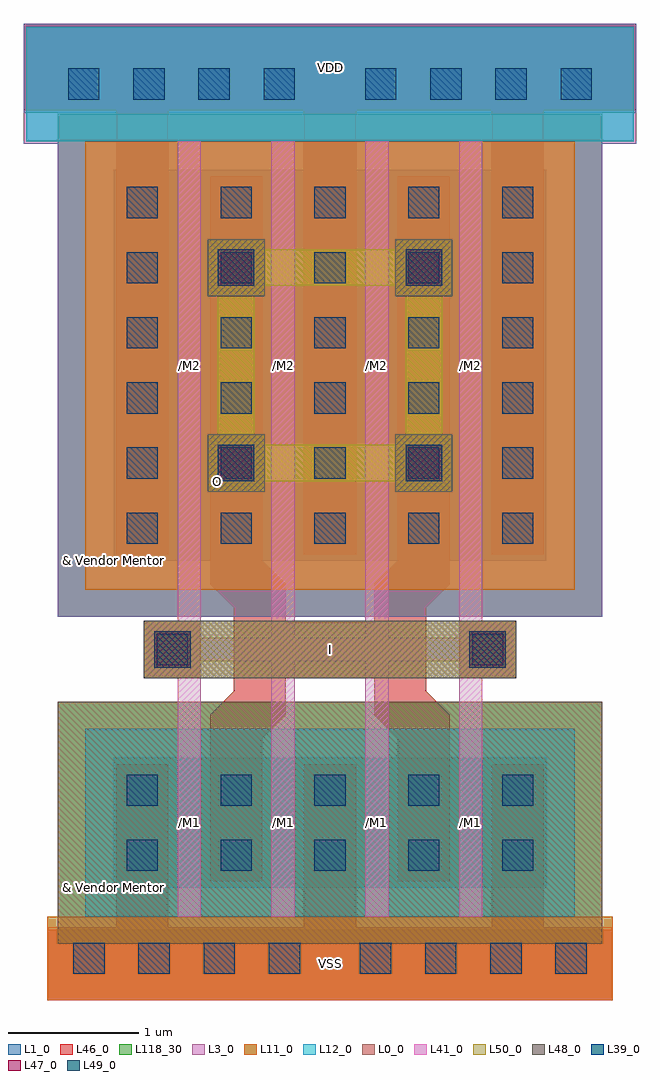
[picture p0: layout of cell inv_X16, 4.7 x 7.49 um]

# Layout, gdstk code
import gdstk
lib = gdstk.Library(unit=1e-6, precision=1e-09)
def R(c, l, rs):  # rectangles x0, y0, x1, y1
    for r in rs: c.add(gdstk.rectangle(r[:2], r[2:], *l))
def A(c, l, x, y, w, h, nx, ny, dx, dy):  # array of equal rectangles
    R(c, l, [(x+i*dx, y+j*dy, x+i*dx+w, y+j*dy+h) for i in range(nx) for j in range(ny)])
def P(c, l, *ps):  # polygons
    for p in ps: c.add(gdstk.Polygon(p, *l))
L0_0 = (0, 0)
L1_0 = (1, 0)
L3_0 = (3, 0)
L11_0 = (11, 0)
L12_0 = (12, 0)
L39_0 = (39, 0)
L41_0 = (41, 0)
L46_0 = (46, 0)
L47_0 = (47, 0)
L48_0 = (48, 0)
L49_0 = (49, 0)
L50_0 = (50, 0)
L118_30 = (118, 30)

mpoly = lib.new_cell('MPOLY')
R(mpoly, L39_0, [(-0.12,-0.12,0.12,0.12)])
R(mpoly, L41_0, [(-0.22,-0.22,0.22,0.22)])
R(mpoly, L46_0, [(-0.2,-0.2,0.2,0.2)])

m1m2 = lib.new_cell('M1M2')
R(m1m2, L46_0, [(-0.22,-0.22,0.22,0.22)])
R(m1m2, L47_0, [(-0.14,-0.14,0.14,0.14)])
R(m1m2, L48_0, [(-0.22,-0.22,0.22,0.22)])

m2m3 = lib.new_cell('M2M3')
R(m2m3, L48_0, [(-0.22,-0.22,0.22,0.22)])
R(m2m3, L49_0, [(-0.14,-0.14,0.14,0.14)])
R(m2m3, L50_0, [(-0.22,-0.22,0.22,0.22)])

inv_x16 = lib.new_cell('inv_X16')
R(inv_x16, L0_0, [(-3.28,-3.54,0.9,-1.68)])
R(inv_x16, L1_0, [(-3.36,-3.97,0.98,-3.43), (-3.26,-3.87,0.88,-3.43), (-2.85,-3.11,0.47,-2.11), (-2.85,-3.11,-2.36,-2.11), (-0.02,-3.11,0.47,-2.11), (-2.85,-0.6,0.47,2.4), (-2.85,-0.6,-2.36,2.4), (-0.02,-0.6,0.47,2.4), (-3.54,2.84,1.16,3.52), (-3.3,2.84,0.92,3.28)])
R(inv_x16, L3_0, [(-3.28,-1.03,0.9,2.83), (-3.54,2.6,1.16,3.52)])
R(inv_x16, L11_0, [(-3.36,-3.97,0.98,-3.33), (-3.07,-0.82,0.69,2.62)])
R(inv_x16, L12_0, [(-3.07,-3.33,0.69,-1.89), (-3.52,2.62,1.14,3.5)])
A(inv_x16, L39_0, -3.16, -3.77, 0.24, 0.24, 4, 1, 0.5, 0)
A(inv_x16, L39_0, -0.96, -3.77, 0.24, 0.24, 4, 1, 0.5, 0)
A(inv_x16, L39_0, -2.75, -2.98, 0.24, 0.24, 5, 2, 0.72, 0.5)
A(inv_x16, L39_0, -2.75, -0.47, 0.24, 0.24, 5, 6, 0.72, 0.5)
A(inv_x16, L39_0, -3.2, 2.94, 0.24, 0.24, 4, 1, 0.5, 0)
A(inv_x16, L39_0, -0.92, 2.94, 0.24, 0.24, 4, 1, 0.5, 0)
A(inv_x16, L41_0, -2.36, -3.33, 0.18, 0.22, 4, 2, 0.72, 1.22)
A(inv_x16, L41_0, -2.36, -3.11, 0.18, 1, 4, 1, 0.72, 0)
A(inv_x16, L41_0, -2.36, -2.07, 0.18, 1.43, 4, 1, 0.72, 0)
A(inv_x16, L41_0, -2.36, -0.82, 0.18, 0.22, 4, 2, 0.72, 3.22)
A(inv_x16, L41_0, -2.36, -0.6, 0.18, 3, 4, 1, 0.72, 0)
R(inv_x16, L41_0, [(-2.49,-1.37,-2.19,-1.19), (-2.36,-1.37,-0.02,-1.19), (-0.07,-1.37,0.23,-1.19)])
A(inv_x16, L46_0, -2.83, -3.81, 0.4, 1.15, 3, 1, 1.44, 0)
A(inv_x16, L46_0, -2.83, -3.06, 0.4, 0.9, 5, 1, 0.72, 0)
A(inv_x16, L46_0, -2.83, -0.55, 0.4, 2.9, 5, 1, 0.72, 0)
A(inv_x16, L46_0, -2.83, 1.95, 0.4, 1.31, 3, 1, 1.44, 0)
R(inv_x16, L46_0, [(-3.36,-3.97,0.98,-3.41), (-3.28,-3.89,0.9,-3.41), (-1.93,-1.5,-0.45,-1.07), (-3.54,2.86,1.16,3.52), (-3.28,2.86,0.9,3.26)])
P(inv_x16, L46_0, [(-0.85,-1.78),(-0.67,-1.96),(-0.67,-2.56),(-0.27,-2.56),(-0.27,-1.78),(-0.45,-1.6),(-0.45,-0.96),(-0.27,-0.78),(-0.27,-0.15),(-0.67,-0.15),(-0.67,-0.6),(-0.85,-0.78)],
  [(-2.11,-2.56),(-1.71,-2.56),(-1.71,-1.96),(-1.53,-1.78),(-1.53,-0.78),(-1.71,-0.6),(-1.71,-0.15),(-2.11,-0.15),(-2.11,-0.78),(-1.93,-0.96),(-1.93,-1.6),(-2.11,-1.78)])
R(inv_x16, L48_0, [(-2.62,-1.5,0.24,-1.06)])
R(inv_x16, L50_0, [(-2.62,-1.5,0.24,-1.06)])
P(inv_x16, L50_0, [(-2.05,0.01),(-0.33,0.01),(-0.33,1.79),(-0.61,1.79),(-0.61,0.29),(-1.77,0.29),(-1.77,1.51),(-0.61,1.51),(-0.61,1.79),(-2.05,1.79)])
R(inv_x16, L118_30, [(-3.28,-3.54,0.9,-1.68), (-3.28,-1.03,0.9,2.83)])
inv_x16.add(gdstk.Reference(mpoly, (0.02,-1.28)))
inv_x16.add(gdstk.Reference(m1m2, (-1.91,0.15)))
inv_x16.add(gdstk.Reference(m1m2, (-1.91,1.65)))
inv_x16.add(gdstk.Reference(m1m2, (-0.47,1.65)))
inv_x16.add(gdstk.Reference(m2m3, (-2.4,-1.28)))
inv_x16.add(gdstk.Reference(mpoly, (-2.4,-1.28)))
inv_x16.add(gdstk.Reference(m1m2, (-2.4,-1.28)))
inv_x16.add(gdstk.Reference(m1m2, (-0.47,0.15)))
inv_x16.add(gdstk.Reference(m2m3, (-0.47,1.65)))
inv_x16.add(gdstk.Reference(m2m3, (-1.91,0.15)))
inv_x16.add(gdstk.Reference(m2m3, (-0.47,0.15)))
inv_x16.add(gdstk.Reference(m2m3, (-1.91,1.65)))
inv_x16.add(gdstk.Reference(m1m2, (0.02,-1.28)))
inv_x16.add(gdstk.Reference(m2m3, (0.02,-1.28)))
inv_x16.add(gdstk.Label('/M1', (-2.27,-2.61), layer=85, texttype=0))
inv_x16.add(gdstk.Label('/M1', (-1.55,-2.61), layer=85, texttype=0))
inv_x16.add(gdstk.Label('/M1', (-0.83,-2.61), layer=85, texttype=0))
inv_x16.add(gdstk.Label('/M1', (-0.11,-2.61), layer=85, texttype=0))
inv_x16.add(gdstk.Label('& Vendor Mentor', (-2.85,-3.11), layer=63, texttype=63))
inv_x16.add(gdstk.Label('& Product UMC180FDKMFM', (-2.85,-3.11), layer=63, texttype=63))
inv_x16.add(gdstk.Label('& Version A01', (-2.85,-3.11), layer=63, texttype=63))
inv_x16.add(gdstk.Label('& Metric 0', (-2.85,-3.11), layer=63, texttype=63))
inv_x16.add(gdstk.Label('& _PublicCode', (-2.85,-3.11), layer=63, texttype=63))
inv_x16.add(gdstk.Label('/M2', (-2.27,0.9), layer=85, texttype=0))
inv_x16.add(gdstk.Label('/M2', (-1.55,0.9), layer=85, texttype=0))
inv_x16.add(gdstk.Label('/M2', (-0.83,0.9), layer=85, texttype=0))
inv_x16.add(gdstk.Label('/M2', (-0.11,0.9), layer=85, texttype=0))
inv_x16.add(gdstk.Label('& Vendor Mentor', (-2.85,-0.6), layer=63, texttype=63))
inv_x16.add(gdstk.Label('& Product UMC180FDKMFM', (-2.85,-0.6), layer=63, texttype=63))
inv_x16.add(gdstk.Label('& Version A01', (-2.85,-0.6), layer=63, texttype=63))
inv_x16.add(gdstk.Label('& Metric 0', (-2.85,-0.6), layer=63, texttype=63))
inv_x16.add(gdstk.Label('& _PublicCode', (-2.85,-0.6), layer=63, texttype=63))
inv_x16.add(gdstk.Label('I', (-1.19,-1.28), layer=103, texttype=0))
inv_x16.add(gdstk.Label('O', (-2.05,0.01), layer=103, texttype=0))
inv_x16.add(gdstk.Label('VSS', (-1.19,-3.69), layer=101, texttype=0))
inv_x16.add(gdstk.Label('VDD', (-1.19,3.19), layer=101, texttype=0))

lib.write_gds('inv_X16.gds')
